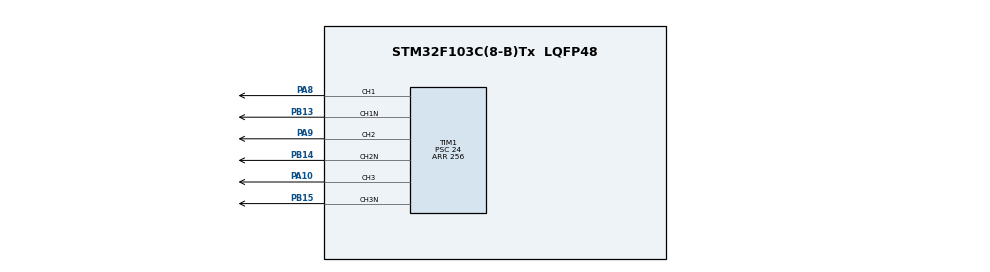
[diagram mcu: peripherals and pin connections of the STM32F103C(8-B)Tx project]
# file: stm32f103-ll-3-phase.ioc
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Mcu.Family=STM32F1
RCC.PLLSourceVirtual=RCC_PLLSOURCE_HSE
PD1-OSC_OUT.Mode=HSE-External-Oscillator
TIM1.Channel-PWM\ Generation1\ CH1\ CH1N=TIM_CHANNEL_1
PD0-OSC_IN.Signal=RCC_OSC_IN
RCC.APB1CLKDivider=RCC_HCLK_DIV2
PB13.Signal=TIM1_CH1N
PB15.Signal=TIM1_CH3N
RCC.SYSCLKSource=RCC_SYSCLKSOURCE_PLLCLK
ProjectManager.StackSize=0x400
PD1-OSC_OUT.Signal=RCC_OSC_OUT
PA13.Signal=SYS_JTMS-SWDIO
TIM1.Channel-PWM\ Generation2\ CH2\ CH2N=TIM_CHANNEL_2
TIM1.Prescaler=24
SH.S_TIM1_CH1.0=TIM1_CH1,PWM Generation1 CH1 CH1N
ProjectManager.TargetToolchain=Makefile
RCC.HCLKFreq_Value=72000000
RCC.APB2TimFreq_Value=72000000
PA9.Signal=S_TIM1_CH2
TIM1.AutomaticOutput=TIM_AUTOMATICOUTPUT_ENABLE
TIM1.Channel-PWM\ Generation3\ CH3\ CH3N=TIM_CHANNEL_3
RCC.USBFreq_Value=72000000
RCC.AHBFreq_Value=72000000
PD0-OSC_IN.Mode=HSE-External-Oscillator
PB14.Signal=TIM1_CH2N
board=stm32f103-ll-3-phase
RCC.PLLMUL=RCC_PLL_MUL9
PB15.Mode=PWM Generation3 CH3 CH3N
RCC.APB2Freq_Value=72000000
SH.S_TIM1_CH2.0=TIM1_CH2,PWM Generation2 CH2 CH2N
PA14.Mode=Serial_Wire
PB14.Mode=PWM Generation2 CH2 CH2N
TIM1.DeadTime=16
PA8.Signal=S_TIM1_CH1
PA13.Mode=Serial_Wire
Mcu.Name=STM32F103C(8-B)Tx
VP_TIM1_VS_ClockSourceINT.Mode=Internal
RCC.SYSCLKFreq_VALUE=72000000
Mcu.Package=LQFP48
PA10.Signal=S_TIM1_CH3
PA14.Signal=SYS_JTCK-SWCLK
ProjectManager.HeapSize=0x200
SH.S_TIM1_CH3.0=TIM1_CH3,PWM Generation3 CH3 CH3N
NVIC.PriorityGroup=NVIC_PRIORITYGROUP_4
RCC.APB1TimFreq_Value=72000000
TIM1.Period=256
PB13.Mode=PWM Generation1 CH1 CH1N
RCC.APB1Freq_Value=36000000

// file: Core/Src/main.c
/* USER CODE BEGIN Header */
/**
  ******************************************************************************
  * @file           : main.c
  * @brief          : Main program body
  ******************************************************************************
  * @attention
  *
  * <h2><center>&copy; Copyright (c) 2020 STMicroelectronics.
  * All rights reserved.</center></h2>
  *
  * This software component is licensed by ST under BSD 3-Clause license,
  * the "License"; You may not use this file except in compliance with the
  * License. You may obtain a copy of the License at:
  *                        opensource.org/licenses/BSD-3-Clause
  *
  ******************************************************************************
  */
/* USER CODE END Header */
#include "main.h"
#include "tim.h"
#include "gpio.h"

/* USER CODE BEGIN Includes */
#include "math.h"
#define AutoReload 256
#define sinus_points 255
#define minimal_amplitude 0
/* USER CODE END Includes */

/* USER CODE BEGIN PV */

float PI = 3.14;
uint16_t sin_table_a[sinus_points];
uint16_t sin_table_b[sinus_points];
uint16_t sin_table_c[sinus_points];
float delay_time = 2000.0; // set delay for begin minimal speed
float prescaler = 200.0; // set delay for begin minimal speed

/* USER CODE END PV */

void SystemClock_Config(void);
/* USER CODE BEGIN PFP */
void sin_init(uint16_t i);

void sin_init(uint16_t i)
{
  sin_table_c[(i+(sinus_points/3*1)) & (sinus_points-1)]=
  sin_table_b[(i+(sinus_points/3*2)) & (sinus_points-1)]=
  sin_table_a[(i+(sinus_points/3*3)) & (sinus_points-1)]=
  minimal_amplitude+(uint16_t)((sin((float) i*(2*PI/sinus_points))+1)*(sinus_points/2-1));
}

void delay_cycle(volatile uint32_t cycle_count)
{
  while(cycle_count--)
  {
    __asm__ volatile ("nop");
  }
}

/* USER CODE END PFP */

int main(void)
{

  /* MCU Configuration--------------------------------------------------------*/

  /* Reset of all peripherals, Initializes the Flash interface and the Systick. */

  LL_APB2_GRP1_EnableClock(LL_APB2_GRP1_PERIPH_AFIO);
  LL_APB1_GRP1_EnableClock(LL_APB1_GRP1_PERIPH_PWR);

  NVIC_SetPriorityGrouping(NVIC_PRIORITYGROUP_4);

  /* System interrupt init*/

  /** NOJTAG: JTAG-DP Disabled and SW-DP Enabled
  */
  LL_GPIO_AF_Remap_SWJ_NOJTAG();

  /* Configure the system clock */
  SystemClock_Config();

  /* Initialize all configured peripherals */
  MX_GPIO_Init();
  MX_TIM1_Init();
  /* USER CODE BEGIN 2 */

  TIM1->ARR = AutoReload; // set auto-reload register

  TIM1->CCER |= TIM_CCER_CC1E;  // LL_TIM_CC_EnableChannel(TIM1, LL_TIM_CHANNEL_CH1);   // start PWM on CH1 pin
  TIM1->CCER |= TIM_CCER_CC2E;  // LL_TIM_CC_EnableChannel(TIM1, LL_TIM_CHANNEL_CH2);   // start PWM on CH2 pin
  TIM1->CCER |= TIM_CCER_CC3E;  // LL_TIM_CC_EnableChannel(TIM1, LL_TIM_CHANNEL_CH3);   // start PWM on CH3 pin
  TIM1->CCER |= TIM_CCER_CC1NE; // LL_TIM_CC_EnableChannel(TIM1, LL_TIM_CHANNEL_CH1N);  // start PWM on CH1N pin
  TIM1->CCER |= TIM_CCER_CC2NE; // LL_TIM_CC_EnableChannel(TIM1, LL_TIM_CHANNEL_CH2N);  // start PWM on CH2N pin
  TIM1->CCER |= TIM_CCER_CC3NE; // LL_TIM_CC_EnableChannel(TIM1, LL_TIM_CHANNEL_CH3N);  // start PWM on CH3N pin

  TIM1->CR1 = TIM_CR1_CEN; //  LL_TIM_EnableCounter(TIM1);

  /* USER CODE END 2 */

  /* Infinite loop */
  /* USER CODE BEGIN WHILE */
  for (uint32_t i=0; i<sinus_points; i++)
  {
    sin_init(i);
  }

  while (1)
  {
    /* USER CODE END WHILE */

    /* USER CODE BEGIN 3 */

   for(int32_t i=0;i<sinus_points;i++)
   {
     prescaler  -= 0.01;
     if(prescaler < 40) prescaler = 40;

     delay_time -= 0.1;
     if(delay_time < sinus_points) delay_time = sinus_points;

     TIM1->CCR1=(sin_table_a[i & (sinus_points-1)]);
     TIM1->CCR2=(sin_table_b[i & (sinus_points-1)]);
     TIM1->CCR3=(sin_table_c[i & (sinus_points-1)]);

//      /*
//       * Reduction of effective amplitude
//       * at low spindle rpm
//       */
//      if(delay_time > sinus_points)
//      {
//        if(i>127)
//        {
//          TIM1->CCR1=127+(sin_table_a[i & (sinus_points-1)]/(delay_time/sinus_points));
//          TIM1->CCR2=127+(sin_table_b[i & (sinus_points-1)]/(delay_time/sinus_points));
//          TIM1->CCR3=127+(sin_table_c[i & (sinus_points-1)]/(delay_time/sinus_points));
//        }
//        else
//        {
//          TIM1->CCR1=127+(sin_table_a[i & (sinus_points-1)]/(delay_time/sinus_points));
//          TIM1->CCR2=127+(sin_table_b[i & (sinus_points-1)]/(delay_time/sinus_points));
//          TIM1->CCR3=127+(sin_table_c[i & (sinus_points-1)]/(delay_time/sinus_points));
//        }
//      }

     delay_cycle(delay_time);
     TIM1->PSC = (uint16_t)prescaler; //  LL_TIM_SetPrescaler(TIM1, (uint16_t)prescaler);
   }
 }
  /* USER CODE END 3 */
}

void SystemClock_Config(void)
{
  LL_FLASH_SetLatency(LL_FLASH_LATENCY_2);
  while(LL_FLASH_GetLatency()!= LL_FLASH_LATENCY_2)
  {
  }
  LL_RCC_HSE_Enable();

   /* Wait till HSE is ready */
  while(LL_RCC_HSE_IsReady() != 1)
  {

  }
  LL_RCC_PLL_ConfigDomain_SYS(LL_RCC_PLLSOURCE_HSE_DIV_1, LL_RCC_PLL_MUL_9);
  LL_RCC_PLL_Enable();

   /* Wait till PLL is ready */
  while(LL_RCC_PLL_IsReady() != 1)
  {

  }
  LL_RCC_SetAHBPrescaler(LL_RCC_SYSCLK_DIV_1);
  LL_RCC_SetAPB1Prescaler(LL_RCC_APB1_DIV_2);
  LL_RCC_SetAPB2Prescaler(LL_RCC_APB2_DIV_1);
  LL_RCC_SetSysClkSource(LL_RCC_SYS_CLKSOURCE_PLL);

   /* Wait till System clock is ready */
  while(LL_RCC_GetSysClkSource() != LL_RCC_SYS_CLKSOURCE_STATUS_PLL)
  {

  }
  LL_Init1msTick(72000000);
  LL_SetSystemCoreClock(72000000);
}

void Error_Handler(void)
{
}

/************************ (C) COPYRIGHT STMicroelectronics *****END OF FILE****/
